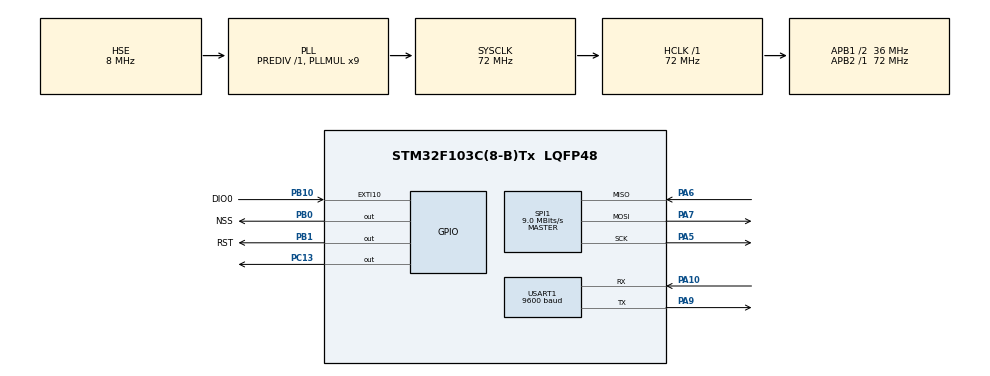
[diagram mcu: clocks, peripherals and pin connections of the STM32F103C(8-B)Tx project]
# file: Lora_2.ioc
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Mcu.Family=STM32F1
Mcu.Name=STM32F103C(8-B)Tx
Mcu.Package=LQFP48
NVIC.EXTI15_10_IRQn=true\:0\:0\:true\:false\:true\:true\:true\:true
NVIC.PriorityGroup=NVIC_PRIORITYGROUP_4
NVIC.USART1_IRQn=true\:1\:0\:true\:false\:true\:true\:true\:true
PA10.Mode=Asynchronous
PA10.Signal=USART1_RX
PA13.Mode=Serial_Wire
PA13.Signal=SYS_JTMS-SWDIO
PA14.Mode=Serial_Wire
PA14.Signal=SYS_JTCK-SWCLK
PA5.Mode=Full_Duplex_Master
PA5.Signal=SPI1_SCK
PA6.Mode=Full_Duplex_Master
PA6.Signal=SPI1_MISO
PA7.Mode=Full_Duplex_Master
PA7.Signal=SPI1_MOSI
PA9.Mode=Asynchronous
PA9.Signal=USART1_TX
PB0.GPIO_Label=NSS
PB0.PinState=GPIO_PIN_SET
PB0.Signal=GPIO_Output
PB1.GPIO_Label=RST
PB1.PinState=GPIO_PIN_SET
PB1.Signal=GPIO_Output
PB10.GPIO_Label=DIO0
PB10.Signal=GPXTI10
PC13-TAMPER-RTC.Signal=GPIO_Output
PD0-OSC_IN.Mode=HSE-External-Oscillator
PD0-OSC_IN.Signal=RCC_OSC_IN
PD1-OSC_OUT.Mode=HSE-External-Oscillator
PD1-OSC_OUT.Signal=RCC_OSC_OUT
ProjectManager.HeapSize=0x200
ProjectManager.StackSize=0x400
ProjectManager.TargetToolchain=MDK-ARM V5.27
RCC.ADCPresc=RCC_ADCPCLK2_DIV6
RCC.AHBFreq_Value=72000000
RCC.APB1CLKDivider=RCC_HCLK_DIV2
RCC.APB1Freq_Value=36000000
RCC.APB1TimFreq_Value=72000000
RCC.APB2Freq_Value=72000000
RCC.APB2TimFreq_Value=72000000
RCC.HCLKFreq_Value=72000000
RCC.PLLMUL=RCC_PLL_MUL9
RCC.PLLSourceVirtual=RCC_PLLSOURCE_HSE
RCC.SYSCLKFreq_VALUE=72000000
RCC.SYSCLKSource=RCC_SYSCLKSOURCE_PLLCLK
RCC.USBFreq_Value=72000000
SPI1.BaudRatePrescaler=SPI_BAUDRATEPRESCALER_8
SPI1.CalculateBaudRate=9.0 MBits/s
SPI1.Direction=SPI_DIRECTION_2LINES
SPI1.Mode=SPI_MODE_MASTER
SPI1.VirtualType=VM_MASTER
USART1.BaudRate=9600
USART1.VirtualMode=VM_ASYNC
board=custom

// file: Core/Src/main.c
/* USER CODE BEGIN Header */
/**
  ******************************************************************************
  * @file           : main.c
  * @brief          : Main program body
  ******************************************************************************
  * @attention
  *
  * Copyright (c) 2022 STMicroelectronics.
  * All rights reserved.
  *
  * This software is licensed under terms that can be found in the LICENSE file
  * in the root directory of this software component.
  * If no LICENSE file comes with this software, it is provided AS-IS.
  *
  ******************************************************************************
  */
/* USER CODE END Header */
#include "main.h"

/* USER CODE BEGIN Includes */
#include "LoRa.h"

/* USER CODE END Includes */

/* USER CODE BEGIN PD */
#define ID_Node_1 1
#define READ 	0
#define	WRITE	1
/* USER CODE END PD */

 SPI_HandleTypeDef hspi1;

UART_HandleTypeDef huart1;

/* USER CODE BEGIN PV */

LoRa myLoRa;
uint8_t LoRa_stat = 0;

uint8_t uart_receive[20];
uint8_t uart_transmit[20];

uint8_t receive_data[128];
uint8_t transmit_data[128];
uint8_t packet_size = 0;
uint8_t flgLoRa = 0;
uint8_t flgUart = 0;
uint8_t flgACK = 0;

uint8_t a;

uint8_t Auto;
uint8_t Bump;
uint8_t Fan;
uint8_t Led;
uint8_t HumiSoil;
uint8_t DHT1Temp;
uint8_t DHT1Humi;
uint8_t Lux_H;
uint8_t Lux_L;

uint8_t TempUpper;
uint8_t TempLower;
uint8_t HumiUpper;
uint8_t HumiLower;
uint8_t LuxUpper;
uint8_t LuxLower;
uint8_t HumiSoilUpper;
uint8_t HumiSoilLower;

/* USER CODE END PV */

void SystemClock_Config(void);
static void MX_GPIO_Init(void);
static void MX_SPI1_Init(void);
static void MX_USART1_UART_Init(void);

/* USER CODE BEGIN 0 */
void LoRa_ACK();

/* USER CODE END 0 */

int main(void)
{
  /* USER CODE BEGIN 1 */
	char str[10];
	uint32_t Transmit_Tick;
	uint32_t ACK_Tick;
  /* USER CODE END 1 */

  /* MCU Configuration--------------------------------------------------------*/

  /* Reset of all peripherals, Initializes the Flash interface and the Systick. */
  HAL_Init();

  /* Configure the system clock */
  SystemClock_Config();

  /* Initialize all configured peripherals */
  MX_GPIO_Init();
  MX_SPI1_Init();
  MX_USART1_UART_Init();
  /* USER CODE BEGIN 2 */
	HAL_UART_Receive_IT(&huart1, uart_receive, 15);

	myLoRa = newLoRa();

	myLoRa.CS_port         = NSS_GPIO_Port;
	myLoRa.CS_pin          = NSS_Pin;
	myLoRa.reset_port      = RST_GPIO_Port;
	myLoRa.reset_pin       = RST_Pin;
	myLoRa.DIO0_port       = DIO0_GPIO_Port;
	myLoRa.DIO0_pin        = DIO0_Pin;
	myLoRa.hSPIx           = &hspi1;

	if(LoRa_init(&myLoRa)==LORA_OK){
		LoRa_stat = 1;
	}

	//Receive from Node
	LoRa_startReceiving(&myLoRa);
//	transmit_data[0] = 125;
//	transmit_data[1] = 100;
//	HAL_UART_Transmit(&huart1, (uint8_t *)transmit_data, 3, 200);
	Transmit_Tick = HAL_GetTick();
  /* USER CODE END 2 */

  /* Infinite loop */
  while (1)
  {

    /* USER CODE BEGIN 3 */
		//LoRa receive
		if(flgLoRa == 1)
		{
			flgLoRa = 0;
			packet_size = LoRa_receive(&myLoRa, receive_data, 128);
			//Receive
			if(receive_data[0]== ID_Node_1)
			{
				if(receive_data[1] == 255)
				{
					flgACK = 0;
				}
				else
				{
					uart_transmit[0] = 255;
					uart_transmit[1] = receive_data[1];
					uart_transmit[2] = receive_data[2];
					uart_transmit[3] = receive_data[3];
					uart_transmit[4] = receive_data[4];
					uart_transmit[5] = receive_data[5];
					uart_transmit[6] = receive_data[6];
					uart_transmit[7] = receive_data[7];
					uart_transmit[8] = receive_data[8];
					uart_transmit[9] = receive_data[9];
//					uart_transmit[9] = '.';
					HAL_UART_Transmit(&huart1, uart_transmit, 10, 500);
//					while(HAL_UART_GetState(&huart1) != HAL_UART_STATE_READY)
//						;
					HAL_GPIO_TogglePin(GPIOC,GPIO_PIN_13);
				}
			}
		}

		if(flgUart ==1)
		{
			flgUart = 0;
			if (uart_receive[14] == 255)
			{
				transmit_data [0] = ID_Node_1;
				transmit_data [1] = WRITE;
				transmit_data [2] = uart_receive[0];
				transmit_data [3] = uart_receive[1];
				transmit_data [4] = uart_receive[2];
				transmit_data [5] = uart_receive[3];
				transmit_data [6] = uart_receive[4];
				transmit_data [7] = uart_receive[5];
				transmit_data [8] = uart_receive[6];
				transmit_data [9] = uart_receive[7];
				transmit_data [10] = uart_receive[8];
				transmit_data [11] = uart_receive[9];
				transmit_data [12] = uart_receive[10];
				transmit_data [13] = uart_receive[11];
				transmit_data [14] = uart_receive[12];
				transmit_data [15] = uart_receive[13];
				LoRa_transmit(&myLoRa, transmit_data, 16, 700);
				uart_receive[14] = 0;
				flgACK = 1;
				ACK_Tick = HAL_GetTick();
			}
		}

		if(flgACK == 1)
		{
			if(HAL_GetTick() - ACK_Tick >= 500)
			{
				flgACK = 0;
				LoRa_transmit(&myLoRa, transmit_data, 16, 700);
			}
		}

		//transmit Read
		if(HAL_GetTick() - Transmit_Tick >= 2000)
		{
			Transmit_Tick = HAL_GetTick();
			HAL_GPIO_TogglePin(GPIOC, GPIO_PIN_13);
			transmit_data[0] = ID_Node_1;
			transmit_data[1] = READ;
			LoRa_transmit(&myLoRa, transmit_data, 2, 300);
			a++;
//			HAL_UART_Transmit(&huart1, (uint8_t *)transmit_data, 3, 200);
		}

		//transmit Write
	}
  /* USER CODE END 3 */
}

void SystemClock_Config(void)
{
  RCC_OscInitTypeDef RCC_OscInitStruct = {0};
  RCC_ClkInitTypeDef RCC_ClkInitStruct = {0};

  /** Initializes the RCC Oscillators according to the specified parameters
  * in the RCC_OscInitTypeDef structure.
  */
  RCC_OscInitStruct.OscillatorType = RCC_OSCILLATORTYPE_HSE;
  RCC_OscInitStruct.HSEState = RCC_HSE_ON;
  RCC_OscInitStruct.HSEPredivValue = RCC_HSE_PREDIV_DIV1;
  RCC_OscInitStruct.HSIState = RCC_HSI_ON;
  RCC_OscInitStruct.PLL.PLLState = RCC_PLL_ON;
  RCC_OscInitStruct.PLL.PLLSource = RCC_PLLSOURCE_HSE;
  RCC_OscInitStruct.PLL.PLLMUL = RCC_PLL_MUL9;
  if (HAL_RCC_OscConfig(&RCC_OscInitStruct) != HAL_OK)
  {
    Error_Handler();
  }

  /** Initializes the CPU, AHB and APB buses clocks
  */
  RCC_ClkInitStruct.ClockType = RCC_CLOCKTYPE_HCLK|RCC_CLOCKTYPE_SYSCLK
                              |RCC_CLOCKTYPE_PCLK1|RCC_CLOCKTYPE_PCLK2;
  RCC_ClkInitStruct.SYSCLKSource = RCC_SYSCLKSOURCE_PLLCLK;
  RCC_ClkInitStruct.AHBCLKDivider = RCC_SYSCLK_DIV1;
  RCC_ClkInitStruct.APB1CLKDivider = RCC_HCLK_DIV2;
  RCC_ClkInitStruct.APB2CLKDivider = RCC_HCLK_DIV1;

  if (HAL_RCC_ClockConfig(&RCC_ClkInitStruct, FLASH_LATENCY_2) != HAL_OK)
  {
    Error_Handler();
  }
}

static void MX_SPI1_Init(void)
{

  /* SPI1 parameter configuration*/
  hspi1.Instance = SPI1;
  hspi1.Init.Mode = SPI_MODE_MASTER;
  hspi1.Init.Direction = SPI_DIRECTION_2LINES;
  hspi1.Init.DataSize = SPI_DATASIZE_8BIT;
  hspi1.Init.CLKPolarity = SPI_POLARITY_LOW;
  hspi1.Init.CLKPhase = SPI_PHASE_1EDGE;
  hspi1.Init.NSS = SPI_NSS_SOFT;
  hspi1.Init.BaudRatePrescaler = SPI_BAUDRATEPRESCALER_8;
  hspi1.Init.FirstBit = SPI_FIRSTBIT_MSB;
  hspi1.Init.TIMode = SPI_TIMODE_DISABLE;
  hspi1.Init.CRCCalculation = SPI_CRCCALCULATION_DISABLE;
  hspi1.Init.CRCPolynomial = 10;
  if (HAL_SPI_Init(&hspi1) != HAL_OK)
  {
    Error_Handler();
  }

}

static void MX_USART1_UART_Init(void)
{

  huart1.Instance = USART1;
  huart1.Init.BaudRate = 9600;
  huart1.Init.WordLength = UART_WORDLENGTH_8B;
  huart1.Init.StopBits = UART_STOPBITS_1;
  huart1.Init.Parity = UART_PARITY_NONE;
  huart1.Init.Mode = UART_MODE_TX_RX;
  huart1.Init.HwFlowCtl = UART_HWCONTROL_NONE;
  huart1.Init.OverSampling = UART_OVERSAMPLING_16;
  if (HAL_UART_Init(&huart1) != HAL_OK)
  {
    Error_Handler();
  }

}

static void MX_GPIO_Init(void)
{
  GPIO_InitTypeDef GPIO_InitStruct = {0};

  /* GPIO Ports Clock Enable */
  __HAL_RCC_GPIOC_CLK_ENABLE();
  __HAL_RCC_GPIOD_CLK_ENABLE();
  __HAL_RCC_GPIOA_CLK_ENABLE();
  __HAL_RCC_GPIOB_CLK_ENABLE();

  /*Configure GPIO pin Output Level */
  HAL_GPIO_WritePin(GPIOC, GPIO_PIN_13, GPIO_PIN_RESET);

  /*Configure GPIO pin Output Level */
  HAL_GPIO_WritePin(GPIOB, NSS_Pin|RST_Pin, GPIO_PIN_SET);

  /*Configure GPIO pin : PC13 */
  GPIO_InitStruct.Pin = GPIO_PIN_13;
  GPIO_InitStruct.Mode = GPIO_MODE_OUTPUT_PP;
  GPIO_InitStruct.Pull = GPIO_NOPULL;
  GPIO_InitStruct.Speed = GPIO_SPEED_FREQ_LOW;
  HAL_GPIO_Init(GPIOC, &GPIO_InitStruct);

  /*Configure GPIO pins : NSS_Pin RST_Pin */
  GPIO_InitStruct.Pin = NSS_Pin|RST_Pin;
  GPIO_InitStruct.Mode = GPIO_MODE_OUTPUT_PP;
  GPIO_InitStruct.Pull = GPIO_NOPULL;
  GPIO_InitStruct.Speed = GPIO_SPEED_FREQ_LOW;
  HAL_GPIO_Init(GPIOB, &GPIO_InitStruct);

  /*Configure GPIO pin : DIO0_Pin */
  GPIO_InitStruct.Pin = DIO0_Pin;
  GPIO_InitStruct.Mode = GPIO_MODE_IT_RISING;
  GPIO_InitStruct.Pull = GPIO_NOPULL;
  HAL_GPIO_Init(DIO0_GPIO_Port, &GPIO_InitStruct);

  /* EXTI interrupt init*/
  HAL_NVIC_SetPriority(EXTI15_10_IRQn, 0, 0);
  HAL_NVIC_EnableIRQ(EXTI15_10_IRQn);

}

/* USER CODE BEGIN 4 */
void HAL_UART_RxCpltCallback(UART_HandleTypeDef *huart)
{
	if(huart->Instance == USART1)
	{
		if (uart_receive[14] == 255) {
			flgUart = 1;
		}
		else
		{
			char TempBuffer;
			HAL_StatusTypeDef hal_status;
			do {
				hal_status = HAL_UART_Receive(&huart1, (uint8_t*)&TempBuffer, 1, 10);
			} while(hal_status != HAL_TIMEOUT);
		}
		HAL_UART_Receive_IT(&huart1, uart_receive, 15);
	}
}

void HAL_UART_ErrorCallback(UART_HandleTypeDef *huart) {
    if(huart->Instance == USART1) {
        HAL_UART_Receive_IT(&huart1, uart_receive, 15);
    }
}

//Interrupt Lora receive
void HAL_GPIO_EXTI_Callback(uint16_t GPIO_Pin)
{
	if(GPIO_Pin == DIO0_Pin)
	{
		flgLoRa = 1;
	}
}

/* USER CODE END 4 */

void Error_Handler(void)
{
  __disable_irq();
  while (1)
  {
  }
}
